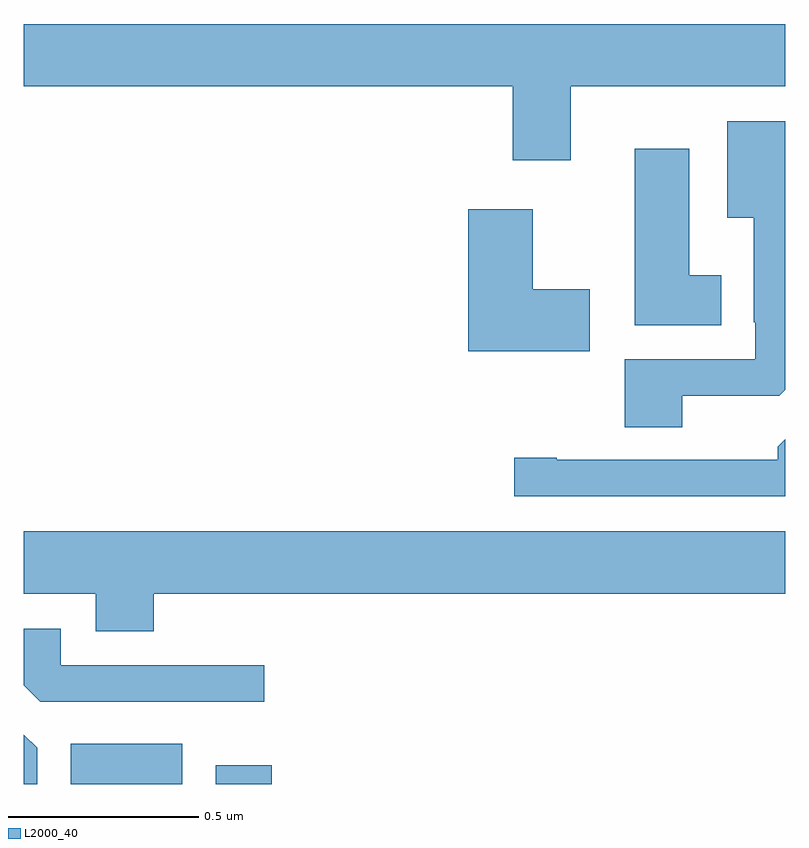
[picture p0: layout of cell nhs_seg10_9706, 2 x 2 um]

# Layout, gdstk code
import gdstk
lib = gdstk.Library(unit=1e-6, precision=1e-09)
def R(c, l, rs):  # rectangles x0, y0, x1, y1
    for r in rs: c.add(gdstk.rectangle(r[:2], r[2:], *l))
def P(c, l, *ps):  # polygons
    for p in ps: c.add(gdstk.Polygon(p, *l))
L2000_40 = (2000, 40)

nhs_seg10_9706 = lib.new_cell('nhs_seg10_9706')
R(nhs_seg10_9706, L2000_40, [(233.123,1282.5,233.416,1282.606), (233.504,1282.5,233.651,1282.549)])
P(nhs_seg10_9706, L2000_40, [(234.436,1284.332),(235,1284.332),(235,1284.496),(233,1284.496),(233,1284.332),(234.284,1284.332),(234.284,1284.138),(234.436,1284.138)],
  [(234.73,1283.52),(234.984,1283.52),(235,1283.536),(235,1284.241),(234.848,1284.241),(234.848,1283.987),(234.917,1283.987),(234.917,1283.713),(234.921,1283.713),(234.921,1283.616),(234.578,1283.616),(234.578,1283.437),(234.73,1283.437)],
  [(234.832,1283.836),(234.748,1283.836),(234.748,1284.169),(234.605,1284.169),(234.605,1283.705),(234.832,1283.705)],
  [(234.487,1283.799),(234.337,1283.799),(234.337,1284.01),(234.167,1284.01),(234.167,1283.636),(234.487,1283.636)],
  [(235,1283.406),(234.98,1283.386),(234.98,1283.352),(234.4,1283.352),(234.4,1283.357),(234.288,1283.357),(234.288,1283.256),(235,1283.256)],
  [(233.342,1283),(235,1283),(235,1283.164),(233,1283.164),(233,1283),(233.189,1283),(233.189,1282.901),(233.342,1282.901)],
  [(233.632,1282.812),(233.097,1282.812),(233.097,1282.908),(233,1282.908),(233,1282.76),(233.043,1282.716),(233.632,1282.716)],
  [(233.035,1282.595),(233,1282.63),(233,1282.5),(233.035,1282.5)])

lib.write_gds('nhs_seg10_9706.gds')
